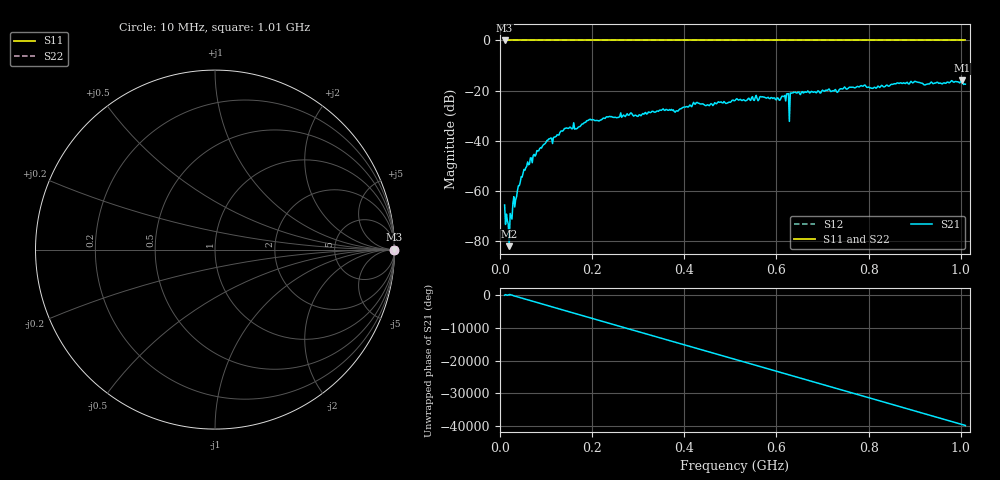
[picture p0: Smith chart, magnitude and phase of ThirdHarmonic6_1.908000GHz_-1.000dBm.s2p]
! 8/16/2025 11:01:25 PM
! C:\ANRITSUVNA\TEMP\TEMP.S2P
! CHANNEL.1
! TR.MEASUREMENT
! RAW.DATA
! RF.CORRECTION.OFF
! AVERAGING.OFF
! IF.BANDWIDTH: 5KHZ
! SWEEPTYPE:  FREQ.SWEEP(Linear)
! Reference Plane Port Info
! PORT:  PORT1  PORT2
! DISTANCE:  0  m  0  m
! TIME:  0  s  0  s
! PHASE.OFFSET:  0  deg.  0  deg.
! LOSS:  0  dB  0  dB
! REF.LOSS:  0  dB  0  dB
! REF.FREQ:  0  Hz  0  Hz
! Power Info
! POWER:  -20  dBm  -20  dBm
! EFF.POWER:  -20  dBm  -20  dBm
! SOURCE.ATTEN:  0  dB  0  dB
! TEST.ATTEN:  0  dB  0  dB
# GHZ S RI R 50.0
! FREQ.GHZ  S11RE  S11IM  S21RE  S21IM  S12RE  S12IM  S22RE  S22IM
!; PortSelection: Port_12
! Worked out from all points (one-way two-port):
!   501 points, 10 MHz to 1.01 GHz, reference 50 ohm
!   highest |S21| = -15.95 dB at 1.002 GHz (marker M1); lowest = -82.1 dB at 20 MHz (marker M2)
!   lowest |S11| = 0.0 dB at 10 MHz (marker M3)
!   |S11| at or under -10 dB: nowhere
!   |S22| runs from 0.0 to 0.0 dB; largest |S21 - S12| = 1.2
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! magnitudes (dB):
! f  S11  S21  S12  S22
! 10 MHz  0.0  -65.6  0.0  0.0
! 16 MHz  0.0  -71.9  0.0  0.0
! 20 MHz  0.0  -82.1  0.0  0.0
! 22 MHz  0.0  -69.0  0.0  0.0
! 26 MHz  0.0  -71.3  0.0  0.0
! 42 MHz  0.0  -57.9  0.0  0.0
! 64 MHz  0.0  -49.3  0.0  0.0
! 106 MHz  0.0  -39.3  0.0  0.0
! 142 MHz  0.0  -35.1  0.0  0.0
! 178 MHz  0.0  -33.4  0.0  0.0
! 196 MHz  0.0  -31.4  0.0  0.0
! 344 MHz  0.0  -28.3  0.0  0.0
! 382 MHz  0.0  -28.2  0.0  0.0
! 510 MHz  0.0  -23.9  0.0  0.0
! 622 MHz  0.0  -21.3  0.0  0.0
! 624 MHz  0.0  -21.3  0.0  0.0
! 632 MHz  0.0  -21.0  0.0  0.0
! 634 MHz  0.0  -20.9  0.0  0.0
! 678 MHz  0.0  -20.5  0.0  0.0
! 844 MHz  0.0  -18.3  0.0  0.0
! 1.002 GHz  0.0  -16.0  0.0  0.0
! 1.01 GHz  0.0  -17.4  0.0  0.0
